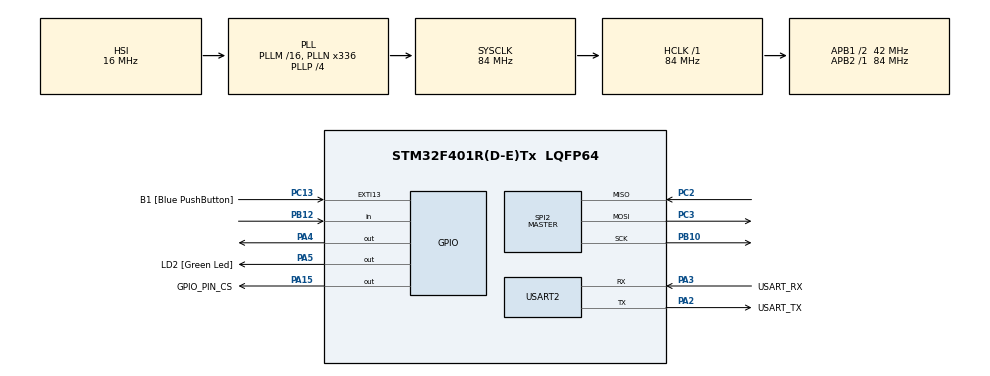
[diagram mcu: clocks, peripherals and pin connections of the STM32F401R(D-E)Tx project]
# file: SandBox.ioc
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Mcu.Family=STM32F4
Mcu.Name=STM32F401R(D-E)Tx
Mcu.Package=LQFP64
NVIC.PriorityGroup=NVIC_PRIORITYGROUP_0
NVIC.USART2_IRQn=true\:0\:0\:false\:false\:true\:true\:true
PA13.GPIO_Label=TMS
PA13.Mode=Serial_Wire
PA13.Signal=SYS_JTMS-SWDIO
PA14.GPIO_Label=TCK
PA14.Mode=Serial_Wire
PA14.Signal=SYS_JTCK-SWCLK
PA15.GPIO_Label=GPIO_PIN_CS
PA15.GPIO_ModeDefaultOutputPP=GPIO_MODE_OUTPUT_PP
PA15.PinState=GPIO_PIN_SET
PA15.Signal=GPIO_Output
PA2.GPIO_Label=USART_TX
PA2.GPIO_Mode=GPIO_MODE_AF_PP
PA2.GPIO_PuPd=GPIO_NOPULL
PA2.GPIO_Speed=GPIO_SPEED_FREQ_LOW
PA2.Mode=Asynchronous
PA2.Signal=USART2_TX
PA3.GPIO_Label=USART_RX
PA3.GPIO_Mode=GPIO_MODE_AF_PP
PA3.GPIO_PuPd=GPIO_NOPULL
PA3.GPIO_Speed=GPIO_SPEED_FREQ_LOW
PA3.Mode=Asynchronous
PA3.Signal=USART2_RX
PA4.Signal=GPIO_Output
PA5.GPIO_Label=LD2 [Green Led]
PA5.GPIO_Mode=GPIO_MODE_OUTPUT_PP
PA5.GPIO_PuPd=GPIO_NOPULL
PA5.GPIO_Speed=GPIO_SPEED_FREQ_LOW
PA5.Signal=GPIO_Output
PB10.GPIO_PuPd=GPIO_NOPULL
PB10.Mode=Full_Duplex_Master
PB10.Signal=SPI2_SCK
PB12.Signal=GPIO_Input
PB3.GPIO_Label=SWO
PB3.Signal=SYS_JTDO-SWO
PC13-ANTI_TAMP.GPIO_Label=B1 [Blue PushButton]
PC13-ANTI_TAMP.GPIO_ModeDefaultEXTI=GPIO_MODE_IT_FALLING
PC13-ANTI_TAMP.GPIO_PuPd=GPIO_NOPULL
PC13-ANTI_TAMP.Signal=GPXTI13
PC14-OSC32_IN.Mode=LSE-External-Oscillator
PC14-OSC32_IN.Signal=RCC_OSC32_IN
PC15-OSC32_OUT.Mode=LSE-External-Oscillator
PC15-OSC32_OUT.Signal=RCC_OSC32_OUT
PC2.Mode=Full_Duplex_Master
PC2.Signal=SPI2_MISO
PC3.Mode=Full_Duplex_Master
PC3.Signal=SPI2_MOSI
PH0\ -\ OSC_IN.Mode=HSE-External-Clock-Source
PH0\ -\ OSC_IN.Signal=RCC_OSC_IN
PH1\ -\ OSC_OUT.Mode=HSE-External-Clock-Source
PH1\ -\ OSC_OUT.Signal=RCC_OSC_OUT
ProjectManager.HeapSize=0x200
ProjectManager.StackSize=0x400
ProjectManager.TargetToolchain=SW4STM32
RCC.48MHZClocksFreq_Value=48000000
RCC.AHBFreq_Value=84000000
RCC.APB1CLKDivider=RCC_HCLK_DIV2
RCC.APB1Freq_Value=42000000
RCC.APB1TimFreq_Value=84000000
RCC.APB2Freq_Value=84000000
RCC.APB2TimFreq_Value=84000000
RCC.CortexFreq_Value=84000000
RCC.HCLKFreq_Value=84000000
RCC.HSE_VALUE=8000000
RCC.HSI_VALUE=16000000
RCC.PLLN=336
RCC.PLLP=RCC_PLLP_DIV4
RCC.PLLQ=7
RCC.SYSCLKFreq_VALUE=84000000
RCC.SYSCLKSource=RCC_SYSCLKSOURCE_PLLCLK
RCC.VCOOutputFreq_Value=336000000
SPI2.CLKPhase=SPI_PHASE_2EDGE
SPI2.Direction=SPI_DIRECTION_2LINES
SPI2.FirstBit=SPI_FIRSTBIT_LSB
SPI2.Mode=SPI_MODE_MASTER
SPI2.VirtualType=VM_MASTER
USART2.VirtualMode=VM_ASYNC
VP_CRC_VS_CRC.Mode=CRC_Activate
board=NUCLEO-F401RE

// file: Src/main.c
/* USER CODE BEGIN Header */
/**
  ******************************************************************************
  * @file           : main.c
  * @brief          : Main program body
  ******************************************************************************
  * @attention
  *
  * <h2><center>&copy; Copyright (c) 2019 STMicroelectronics.
  * All rights reserved.</center></h2>
  *
  * This software component is licensed by ST under BSD 3-Clause license,
  * the "License"; You may not use this file except in compliance with the
  * License. You may obtain a copy of the License at:
  *                        opensource.org/licenses/BSD-3-Clause
  *
  ******************************************************************************
  */
/* USER CODE END Header */

#include "main.h"

/* USER CODE BEGIN Includes */

const registerSetting_t standardRegisters1[]={ //configure register settings here
  {IOCFG3,              0xB0}, //GPIO3 IO Pin Configuration
  {IOCFG2,              0x06}, //GPIO2 IO Pin Configuration
  {IOCFG1,              0xB0}, //GPIO1 IO Pin Configuration
  {IOCFG0,              0x40}, //GPIO0 IO Pin Configuration
  {SYNC3,               0x93}, //Sync Word Configuration [31:24]
  {SYNC2,               0x0B}, //Sync Word Configuration [23:16]
  {SYNC1,               0x51}, //Sync Word Configuration [15:8]
  {SYNC0,               0xDE}, //Sync Word Configuration [7:0]
  {SYNC_CFG1,           0x0B}, //Sync Word Detection Configuration Reg. 1
  {SYNC_CFG0,           0x17}, //Sync Word Length Configuration Reg. 0
  {DEVIATION_M,         0x06}, //Frequency Deviation Configuration
  {MODCFG_DEV_E,        0x03}, //Modulation Format and Frequency Deviation Configur..
  {DCFILT_CFG,          0x1C}, //Digital DC Removal Configuration
  {PREAMBLE_CFG1,       0x18}, //Preamble Length Configuration Reg. 1
  {PREAMBLE_CFG0,       0x2A}, //Preamble Detection Configuration Reg. 0
  {FREQ_IF_CFG,         0x40}, //RX Mixer Frequency Configuration
  {IQIC,                0xC6}, //Digital Image Channel Compensation Configuration
  {CHAN_BW,             0x08}, //Channel Filter Configuration
  {MDMCFG1,             0x46}, //General Modem Parameter Configuration Reg. 1
  {MDMCFG0,             0x05}, //General Modem Parameter Configuration Reg. 0
  {SYMBOL_RATE2,        0x43}, //Symbol Rate Configuration Exponent and Mantissa [1..
  {SYMBOL_RATE1,        0xA9}, //Symbol Rate Configuration Mantissa [15:8]
  {SYMBOL_RATE0,        0x2A}, //Symbol Rate Configuration Mantissa [7:0]
  {AGC_REF,             0x20}, //AGC Reference Level Configuration
  {AGC_CS_THR,          0x19}, //Carrier Sense Threshold Configuration
  {AGC_GAIN_ADJUST,     0x00}, //RSSI Offset Configuration
  {AGC_CFG3,            0x91}, //Automatic Gain Control Configuration Reg. 3
  {AGC_CFG2,            0x20}, //Automatic Gain Control Configuration Reg. 2
  {AGC_CFG1,            0xA9}, //Automatic Gain Control Configuration Reg. 1
  {AGC_CFG0,            0xCF}, //Automatic Gain Control Configuration Reg. 0
  {FIFO_CFG,            64}, //FIFO Configuration
  {DEV_ADDR,            0x00}, //Device Address Configuration
  {SETTLING_CFG,        0x03}, //Frequency Synthesizer Calibration and Settling Con..
  {FS_CFG,              0b00010100}, //Frequency Synthesizer Configuration
  {WOR_CFG1,            0x08}, //eWOR Configuration Reg. 1
  {WOR_CFG0,            0x21}, //eWOR Configuration Reg. 0
  {WOR_EVENT0_MSB,      0x00}, //Event 0 Configuration MSB
  {WOR_EVENT0_LSB,      0x00}, //Event 0 Configuration LSB
  {PKT_CFG2,            0x04}, //Packet Configuration Reg. 2
  {PKT_CFG1,            0x05}, //Packet Configuration Reg. 1
  {PKT_CFG0,            0x00}, //Packet Configuration Reg. 0
  {RFEND_CFG1,          0x0F}, //RFEND Configuration Reg. 1
  {RFEND_CFG0,          0x00}, //RFEND Configuration Reg. 0
  {PA_CFG2,             0x7F}, //Power Amplifier Configuration Reg. 2
  {PA_CFG1,             0x56}, //Power Amplifier Configuration Reg. 1
  {PA_CFG0,             0x7C}, //Power Amplifier Configuration Reg. 0
  {PKT_LEN,             127} //Packet Length Configuration
};

//==================================================

const registerSetting_t extendedRegisters1[]={ //configure extended register settings here
{IF_MIX_CFG,          0x00}, //IF Mix Configuration
  {FREQOFF_CFG,         0x22}, //Frequency Offset Correction Configuration
  {TOC_CFG,             0x0B}, //Timing Offset Correction Configuration
  {MARC_SPARE,          0x00}, //MARC Spare
  {ECG_CFG,             0x00}, //External Clock Frequency Configuration
  {CFM_DATA_CFG,        0x00}, //Custom frequency modulation enable
  {EXT_CTRL,            0x01}, //External Control Configuration
  {RCCAL_FINE,          0x00}, //RC Oscillator Calibration Fine
  {RCCAL_COARSE,        0x00}, //RC Oscillator Calibration Coarse
  {RCCAL_OFFSET,        0x00}, //RC Oscillator Calibration Clock Offset
  {FREQOFF1,            0x00}, //Frequency Offset MSB
  {FREQOFF0,            0x00}, //Frequency Offset LSB
  {FREQ2,               0x6C}, //Frequency Configuration [23:16]
  {FREQ1,               0x40}, //Frequency Configuration [15:8]
  {FREQ0,               0x00}, //Frequency Configuration [7:0]
  {IF_ADC2,             0x02}, //Analog to Digital Converter Configuration Reg. 2
  {IF_ADC1,             0xA6}, //Analog to Digital Converter Configuration Reg. 1
  {IF_ADC0,             0x04}, //Analog to Digital Converter Configuration Reg. 0
  {FS_DIG1,             0x00}, //Frequency Synthesizer Digital Reg. 1
  {FS_DIG0,             0x5F}, //Frequency Synthesizer Digital Reg. 0
  {FS_CAL3,             0x00}, //Frequency Synthesizer Calibration Reg. 3
  {FS_CAL2,             0x20}, //Frequency Synthesizer Calibration Reg. 2
  {FS_CAL1,             0x40}, //Frequency Synthesizer Calibration Reg. 1
  {FS_CAL0,             0x0E}, //Frequency Synthesizer Calibration Reg. 0
  {FS_CHP,              0x27}, //Frequency Synthesizer Charge Pump Configuration
  {FS_DIVTWO,           0x03}, //Frequency Synthesizer Divide by 2
  {FS_DSM1,             0x00}, //FS Digital Synthesizer Module Configuration Reg. 1
  {FS_DSM0,             0x33}, //FS Digital Synthesizer Module Configuration Reg. 0
  {FS_DVC1,             0xFF}, //Frequency Synthesizer Divider Chain Configuration ..
  {FS_DVC0,             0x17}, //Frequency Synthesizer Divider Chain Configuration ..
  {FS_LBI,              0x00}, //Frequency Synthesizer Local Bias Configuration
  {FS_PFD,              0x50}, //Frequency Synthesizer Phase Frequency Detector Con..
  {FS_PRE,              0x6E}, //Frequency Synthesizer Prescaler Configuration
  {FS_REG_DIV_CML,      0x14}, //Frequency Synthesizer Divider Regulator Configurat..
  {FS_SPARE,            0xAC}, //Frequency Synthesizer Spare
  {FS_VCO4,             0x13}, //FS Voltage Controlled Oscillator Configuration Reg..
  {FS_VCO3,             0x00}, //FS Voltage Controlled Oscillator Configuration Reg..
  {FS_VCO2,             0x4C}, //FS Voltage Controlled Oscillator Configuration Reg..
  {FS_VCO1,             0x9C}, //FS Voltage Controlled Oscillator Configuration Reg..
  {FS_VCO0,             0xB4}, //FS Voltage Controlled Oscillator Configuration Reg..
  {GBIAS6,              0x00}, //Global Bias Configuration Reg. 6
  {GBIAS5,              0x02}, //Global Bias Configuration Reg. 5
  {GBIAS4,              0x00}, //Global Bias Configuration Reg. 4
  {GBIAS3,              0x00}, //Global Bias Configuration Reg. 3
  {GBIAS2,              0x10}, //Global Bias Configuration Reg. 2
  {GBIAS1,              0x00}, //Global Bias Configuration Reg. 1
  {GBIAS0,              0x00}, //Global Bias Configuration Reg. 0
  {IFAMP,               0x01}, //Intermediate Frequency Amplifier Configuration
  {LNA,                 0x01}, //Low Noise Amplifier Configuration
  {RXMIX,               0x01}, //RX Mixer Configuration
  {XOSC5,               0x0E}, //Crystal Oscillator Configuration Reg. 5
  {XOSC4,               0xA0}, //Crystal Oscillator Configuration Reg. 4
  {XOSC3,               0x03}, //Crystal Oscillator Configuration Reg. 3
  {XOSC2,               0x04}, //Crystal Oscillator Configuration Reg. 2
  {XOSC1,               0x03}, //Crystal Oscillator Configuration Reg. 1
  {XOSC0,               0x00}, //Crystal Oscillator Configuration Reg. 0
  {ANALOG_SPARE,        0x00}, //Analog Spare
  {PA_CFG3,             0x00}, //Power Amplifier Configuration Reg. 3
  {WOR_TIME1,           0x00}, //eWOR Timer Counter Value MSB
  {WOR_TIME0,           0x00}, //eWOR Timer Counter Value LSB
  {WOR_CAPTURE1,        0x00}, //eWOR Timer Capture Value MSB
  {WOR_CAPTURE0,        0x00}, //eWOR Timer Capture Value LSB
  {BIST,                0x00}, //MARC Built-In Self-Test
  {DCFILTOFFSET_I1,     0xFC}, //DC Filter Offset I MSB
  {DCFILTOFFSET_I0,     0x66}, //DC Filter Offset I LSB
  {DCFILTOFFSET_Q1,     0x06}, //DC Filter Offset Q MSB
  {DCFILTOFFSET_Q0,     0xE6}, //DC Filter Offset Q LSB
  {IQIE_I1,             0xFD}, //IQ Imbalance Value I MSB
  {IQIE_I0,             0x15}, //IQ Imbalance Value I LSB
  {IQIE_Q1,             0x02}, //IQ Imbalance Value Q MSB
  {IQIE_Q0,             0xEF}, //IQ Imbalance Value Q LSB
  {RSSI1,               0xED}, //Received Signal Strength Indicator Reg. 1
  {RSSI0,               0x03}, //Received Signal Strength Indicator Reg.0
  {MARCSTATE,           0x33}, //MARC State
  {LQI_VAL,             0x80}, //Link Quality Indicator Value
  {PQT_SYNC_ERR,        0x9F}, //Preamble and Sync Word Error
  {DEM_STATUS,          0x01}, //Demodulator Status
  {FREQOFF_EST1,        0x00}, //Frequency Offset Estimate MSB
  {FREQOFF_EST0,        0x0E}, //Frequency Offset Estimate LSB
  {AGC_GAIN3,           0x27}, //Automatic Gain Control Reg. 3
  {AGC_GAIN2,           0xD1}, //Automatic Gain Control Reg. 2
  {AGC_GAIN1,           0x00}, //Automatic Gain Control Reg. 1
  {AGC_GAIN0,           0x3F}, //Automatic Gain Control Reg. 0
  {CFM_RX_DATA_OUT,     0x00}, //Custom Frequency Modulation RX Data
  {CFM_TX_DATA_IN,      0x00}, //Custom Frequency Modulation TX Data
  {ASK_SOFT_RX_DATA,    0x30}, //ASK Soft Decision Output
  {RNDGEN,              0x7F}, //Random Number Generator Value
  {MAGN2,               0x00}, //Signal Magnitude after CORDIC [16]
  {MAGN1,               0x00}, //Signal Magnitude after CORDIC [15:8]
  {MAGN0,               0x10}, //Signal Magnitude after CORDIC [7:0]
  {ANG1,                0x00}, //Signal Angular after CORDIC [9:8]
  {ANG0,                0xD5}, //Signal Angular after CORDIC [7:0]
  {CHFILT_I2,           0x0F}, //Channel Filter Data Real Part [18:16]
  {CHFILT_I1,           0xFF}, //Channel Filter Data Real Part [15:8]
  {CHFILT_I0,           0xEE}, //Channel Filter Data Real Part [7:0]
  {CHFILT_Q2,           0x00}, //Channel Filter Data Imaginary Part [18:16]
  {CHFILT_Q1,           0x00}, //Channel Filter Data Imaginary Part [15:8]
  {CHFILT_Q0,           0x11}, //Channel Filter Data Imaginary Part [7:0]
  {GPIO_STATUS,         0x00}, //General Purpose Input/Output Status
  {FSCAL_CTRL,          0x09}, //Frequency Synthesizer Calibration Control
  {PHASE_ADJUST,        0x00}, //Frequency Synthesizer Phase Adjust
  {PARTNUMBER,          0x48}, //Part Number
  {PARTVERSION,         0x21}, //Part Revision
  {SERIAL_STATUS,       0x00}, //Serial Status
  {MODEM_STATUS1,       0x11}, //Modem Status Reg. 1
  {MODEM_STATUS0,       0x00}, //Modem Status Reg. 0
  {MARC_STATUS1,        0x40}, //MARC Status Reg. 1
  {MARC_STATUS0,        0x00}, //MARC Status Reg. 0
  {PA_IFAMP_TEST,       0x00}, //Power Amplifier Intermediate Frequency Amplifier T..
  {FSRF_TEST,           0x00}, //Frequency Synthesizer Test
  {PRE_TEST,            0x00}, //Frequency Synthesizer Prescaler Test
  {PRE_OVR,             0x00}, //Frequency Synthesizer Prescaler Override
  {ADC_TEST,            0x00}, //Analog to Digital Converter Test
  {DVC_TEST,            0x0B}, //Digital Divider Chain Test
  {ATEST,               0x40}, //Analog Test
  {ATEST_LVDS,          0x00}, //Analog Test LVDS
  {ATEST_MODE,          0x00}, //Analog Test Mode
  {XOSC_TEST1,          0x3C}, //Crystal Oscillator Test Reg. 1
  {XOSC_TEST0,          0x00}, //Crystal Oscillator Test Reg. 0
  {RXFIRST,             0x00}, //RX FIFO Pointer First Entry
  {TXFIRST,             0x0A}, //TX FIFO Pointer First Entry
  {RXLAST,              0x00}, //RX FIFO Pointer Last Entry
  {TXLAST,              0x0E}, //TX FIFO Pointer Last Entry
  {NUM_TXBYTES,         0x04}, //TX FIFO Status
  {NUM_RXBYTES,         0x00}, //RX FIFO Status
  {FIFO_NUM_TXBYTES,    0x0F}, //TX FIFO Status
  {FIFO_NUM_RXBYTES,    0x00}, //RX FIFO Status
};
/* USER CODE END Includes */

CRC_HandleTypeDef hcrc;

SPI_HandleTypeDef hspi2;

UART_HandleTypeDef huart2;

void SystemClock_Config(void);
static void MX_GPIO_Init(void);
static void MX_CRC_Init(void);
static void MX_SPI2_Init(void);
static void MX_USART2_UART_Init(void);

/* USER CODE BEGIN 0 */
/**
 * Writes a value to a register of the TX CC1120
 * @param addr the address of the register
 * @param data the data to be written
 * @return the first byte of the SPI buffer. Can be used for error checking
 */
uint8_t
cc_tx_wr_reg (uint16_t addr, uint8_t data)
{

  uint8_t aTxBuffer[4];
  uint8_t aRxBuffer[4] = { 0, 0, 0, 0 };
  uint8_t len = 0;

  if (addr >= CC_EXT_ADD) {
    len = 3;

    aTxBuffer[0] = 0x2F;
    aTxBuffer[1] = (uint8_t) (0x00FF & addr);
    aTxBuffer[2] = data;
  }
  else {
    len = 2;

    aTxBuffer[0] = (uint8_t) (0x00FF & addr);
    aTxBuffer[1] = data;
  }

  HAL_GPIO_WritePin (GPIOA, GPIO_PIN_15, GPIO_PIN_RESET);
  HAL_SPI_TransmitReceive (&hspi2, (uint8_t *) aTxBuffer, (uint8_t *) aRxBuffer, len, 5000); //send and receive 3 bytes
  HAL_GPIO_WritePin (GPIOA, GPIO_PIN_15, GPIO_PIN_SET);

  return aRxBuffer[0];
}

// Global variable for testing interrupt-driven UART
uint8_t rx_data[4];
/* USER CODE END 0 */

int main(void)
{

  /* MCU Configuration--------------------------------------------------------*/

  /* Reset of all peripherals, Initializes the Flash interface and the Systick. */
  HAL_Init();

  /* Configure the system clock */
  SystemClock_Config();

  /* Initialize all configured peripherals */
  MX_GPIO_Init();
  MX_CRC_Init();
  MX_SPI2_Init();
  MX_USART2_UART_Init();
  /* USER CODE BEGIN 2 */
  // Enable interrupts for UART2 RX (not empty)
  __HAL_UART_ENABLE_IT(&huart2, UART_IT_RXNE);
  /* USER CODE END 2 */

  /* Infinite loop */
  while (1)
  {
    // @todo handle queue data
  }
}

void SystemClock_Config(void)
{
  RCC_OscInitTypeDef RCC_OscInitStruct = {0};
  RCC_ClkInitTypeDef RCC_ClkInitStruct = {0};

  /** Configure the main internal regulator output voltage
  */
  __HAL_RCC_PWR_CLK_ENABLE();
  __HAL_PWR_VOLTAGESCALING_CONFIG(PWR_REGULATOR_VOLTAGE_SCALE2);
  /** Initializes the CPU, AHB and APB busses clocks
  */
  RCC_OscInitStruct.OscillatorType = RCC_OSCILLATORTYPE_HSI;
  RCC_OscInitStruct.HSIState = RCC_HSI_ON;
  RCC_OscInitStruct.HSICalibrationValue = RCC_HSICALIBRATION_DEFAULT;
  RCC_OscInitStruct.PLL.PLLState = RCC_PLL_ON;
  RCC_OscInitStruct.PLL.PLLSource = RCC_PLLSOURCE_HSI;
  RCC_OscInitStruct.PLL.PLLM = 16;
  RCC_OscInitStruct.PLL.PLLN = 336;
  RCC_OscInitStruct.PLL.PLLP = RCC_PLLP_DIV4;
  RCC_OscInitStruct.PLL.PLLQ = 7;
  if (HAL_RCC_OscConfig(&RCC_OscInitStruct) != HAL_OK)
  {
    Error_Handler();
  }
  /** Initializes the CPU, AHB and APB busses clocks
  */
  RCC_ClkInitStruct.ClockType = RCC_CLOCKTYPE_HCLK|RCC_CLOCKTYPE_SYSCLK
                              |RCC_CLOCKTYPE_PCLK1|RCC_CLOCKTYPE_PCLK2;
  RCC_ClkInitStruct.SYSCLKSource = RCC_SYSCLKSOURCE_PLLCLK;
  RCC_ClkInitStruct.AHBCLKDivider = RCC_SYSCLK_DIV1;
  RCC_ClkInitStruct.APB1CLKDivider = RCC_HCLK_DIV2;
  RCC_ClkInitStruct.APB2CLKDivider = RCC_HCLK_DIV1;

  if (HAL_RCC_ClockConfig(&RCC_ClkInitStruct, FLASH_LATENCY_2) != HAL_OK)
  {
    Error_Handler();
  }
}

static void MX_CRC_Init(void)
{

  hcrc.Instance = CRC;
  if (HAL_CRC_Init(&hcrc) != HAL_OK)
  {
    Error_Handler();
  }

}

static void MX_SPI2_Init(void)
{

  /* SPI2 parameter configuration*/
  hspi2.Instance = SPI2;
  hspi2.Init.Mode = SPI_MODE_MASTER;
  hspi2.Init.Direction = SPI_DIRECTION_2LINES;
  hspi2.Init.DataSize = SPI_DATASIZE_8BIT;
  hspi2.Init.CLKPolarity = SPI_POLARITY_LOW;
  hspi2.Init.CLKPhase = SPI_PHASE_2EDGE;
  hspi2.Init.NSS = SPI_NSS_SOFT;
  hspi2.Init.BaudRatePrescaler = SPI_BAUDRATEPRESCALER_2;
  hspi2.Init.FirstBit = SPI_FIRSTBIT_LSB;
  hspi2.Init.TIMode = SPI_TIMODE_DISABLE;
  hspi2.Init.CRCCalculation = SPI_CRCCALCULATION_DISABLE;
  hspi2.Init.CRCPolynomial = 10;
  if (HAL_SPI_Init(&hspi2) != HAL_OK)
  {
    Error_Handler();
  }

}

static void MX_USART2_UART_Init(void)
{

  huart2.Instance = USART2;
  huart2.Init.BaudRate = 115200;
  huart2.Init.WordLength = UART_WORDLENGTH_8B;
  huart2.Init.StopBits = UART_STOPBITS_1;
  huart2.Init.Parity = UART_PARITY_NONE;
  huart2.Init.Mode = UART_MODE_TX_RX;
  huart2.Init.HwFlowCtl = UART_HWCONTROL_NONE;
  huart2.Init.OverSampling = UART_OVERSAMPLING_16;
  if (HAL_UART_Init(&huart2) != HAL_OK)
  {
    Error_Handler();
  }

}

static void MX_GPIO_Init(void)
{
  GPIO_InitTypeDef GPIO_InitStruct = {0};

  /* GPIO Ports Clock Enable */
  __HAL_RCC_GPIOC_CLK_ENABLE();
  __HAL_RCC_GPIOH_CLK_ENABLE();
  __HAL_RCC_GPIOA_CLK_ENABLE();
  __HAL_RCC_GPIOB_CLK_ENABLE();

  /*Configure GPIO pin Output Level */
  HAL_GPIO_WritePin(GPIOA, GPIO_PIN_4|LD2_Pin, GPIO_PIN_RESET);

  /*Configure GPIO pin Output Level */
  HAL_GPIO_WritePin(GPIO_PIN_CS_GPIO_Port, GPIO_PIN_CS_Pin, GPIO_PIN_SET);

  /*Configure GPIO pin : B1_Pin */
  GPIO_InitStruct.Pin = B1_Pin;
  GPIO_InitStruct.Mode = GPIO_MODE_IT_FALLING;
  GPIO_InitStruct.Pull = GPIO_NOPULL;
  HAL_GPIO_Init(B1_GPIO_Port, &GPIO_InitStruct);

  /*Configure GPIO pins : PA4 LD2_Pin PAPin */
  GPIO_InitStruct.Pin = GPIO_PIN_4|LD2_Pin|GPIO_PIN_CS_Pin;
  GPIO_InitStruct.Mode = GPIO_MODE_OUTPUT_PP;
  GPIO_InitStruct.Pull = GPIO_NOPULL;
  GPIO_InitStruct.Speed = GPIO_SPEED_FREQ_LOW;
  HAL_GPIO_Init(GPIOA, &GPIO_InitStruct);

  /*Configure GPIO pin : PB12 */
  GPIO_InitStruct.Pin = GPIO_PIN_12;
  GPIO_InitStruct.Mode = GPIO_MODE_INPUT;
  GPIO_InitStruct.Pull = GPIO_NOPULL;
  HAL_GPIO_Init(GPIOB, &GPIO_InitStruct);

}

void Error_Handler(void)
{
}

/************************ (C) COPYRIGHT STMicroelectronics *****END OF FILE****/
